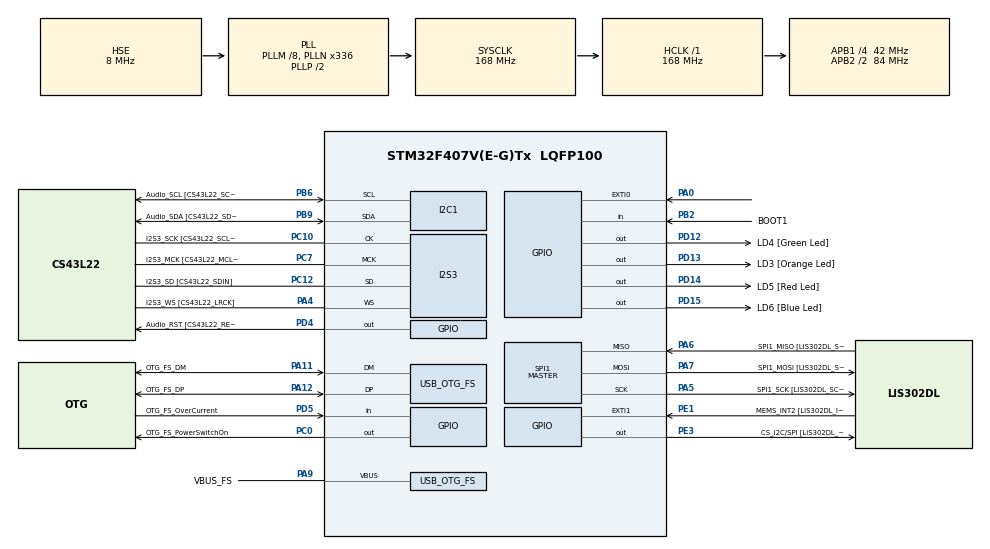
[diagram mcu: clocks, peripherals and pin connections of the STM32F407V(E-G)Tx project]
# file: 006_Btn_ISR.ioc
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I2S3.AudioFreq-Half_Duplex_Master=I2S_AUDIOFREQ_96K
I2S3.ErrorAudioFreq=-2.34 %
I2S3.ErrorAudioFreq-Half_Duplex_Master=0.8 %
I2S3.FullDuplexMode=I2S_FULLDUPLEXMODE_DISABLE
I2S3.Instance=SPI$Index
I2S3.RealAudioFreq=93.75 KHz
I2S3.RealAudioFreq-Half_Duplex_Master=96.774 KHz
I2S3.VirtualMode=I2S_MODE_MASTER
Mcu.Family=STM32F4
Mcu.Name=STM32F407V(E-G)Tx
Mcu.Package=LQFP100
NVIC.EXTI0_IRQn=true\:6\:0\:true\:false\:true\:true\:true\:true
NVIC.OTG_FS_IRQn=true\:0\:0\:false\:false\:true\:true\:true\:true
NVIC.PriorityGroup=NVIC_PRIORITYGROUP_4
NVIC.TIM6_DAC_IRQn=true\:15\:0\:false\:false\:true\:false\:true\:true
NVIC.TimeBase=TIM6_DAC_IRQn
NVIC.TimeBaseIP=TIM6
PA0-WKUP.Signal=GPXTI0
PA10.GPIO_Label=OTG_FS_ID
PA10.GPIO_Mode=GPIO_MODE_AF_PP
PA10.GPIO_PuPd=GPIO_NOPULL
PA10.GPIO_Speed=GPIO_SPEED_FREQ_LOW
PA10.Signal=USB_OTG_FS_ID
PA11.GPIO_Label=OTG_FS_DM
PA11.GPIO_Mode=GPIO_MODE_AF_PP
PA11.GPIO_PuPd=GPIO_NOPULL
PA11.GPIO_Speed=GPIO_SPEED_FREQ_LOW
PA11.Mode=Host_Only
PA11.Signal=USB_OTG_FS_DM
PA12.GPIO_Label=OTG_FS_DP
PA12.GPIO_Mode=GPIO_MODE_AF_PP
PA12.GPIO_PuPd=GPIO_NOPULL
PA12.GPIO_Speed=GPIO_SPEED_FREQ_LOW
PA12.Mode=Host_Only
PA12.Signal=USB_OTG_FS_DP
PA13.GPIO_Label=SWDIO
PA13.Mode=Serial_Wire
PA13.Signal=SYS_JTMS-SWDIO
PA14.GPIO_Label=SWCLK
PA14.Mode=Serial_Wire
PA14.Signal=SYS_JTCK-SWCLK
PA4.GPIO_Label=I2S3_WS [CS43L22_LRCK]
PA4.GPIO_Mode=GPIO_MODE_AF_PP
PA4.GPIO_PuPd=GPIO_NOPULL
PA4.GPIO_Speed=GPIO_SPEED_FREQ_LOW
PA4.Mode=Half_Duplex_Master
PA4.Signal=I2S3_WS
PA5.GPIO_Label=SPI1_SCK [LIS302DL_SCL/SPC]
PA5.GPIO_Mode=GPIO_MODE_AF_PP
PA5.GPIO_PuPd=GPIO_NOPULL
PA5.GPIO_Speed=GPIO_SPEED_FREQ_LOW
PA5.Mode=Full_Duplex_Master
PA5.Signal=SPI1_SCK
PA6.GPIO_Label=SPI1_MISO [LIS302DL_SDO]
PA6.GPIO_Mode=GPIO_MODE_AF_PP
PA6.GPIO_PuPd=GPIO_NOPULL
PA6.GPIO_Speed=GPIO_SPEED_FREQ_LOW
PA6.Mode=Full_Duplex_Master
PA6.Signal=SPI1_MISO
PA7.GPIO_Label=SPI1_MOSI [LIS302DL_SDA/SDI/SDO]
PA7.GPIO_Mode=GPIO_MODE_AF_PP
PA7.GPIO_PuPd=GPIO_NOPULL
PA7.GPIO_Speed=GPIO_SPEED_FREQ_LOW
PA7.Mode=Full_Duplex_Master
PA7.Signal=SPI1_MOSI
PA9.GPIO_Label=VBUS_FS
PA9.GPIO_Mode=GPIO_MODE_INPUT
PA9.GPIO_PuPd=GPIO_NOPULL
PA9.Mode=Activate_VBUS
PA9.Signal=USB_OTG_FS_VBUS
PB10.GPIO_Label=CLK_IN [MP45DT02_CLK]
PB10.GPIO_Mode=GPIO_MODE_AF_PP
PB10.GPIO_PuPd=GPIO_NOPULL
PB10.GPIO_Speed=GPIO_SPEED_FREQ_LOW
PB10.Signal=I2S2_CK
PB2.GPIO_Label=BOOT1
PB2.GPIO_Mode=GPIO_MODE_INPUT
PB2.GPIO_PuPd=GPIO_NOPULL
PB2.Signal=GPIO_Input
PB3.GPIO_Label=SWO
PB3.Signal=SYS_JTDO-SWO
PB6.GPIO_Label=Audio_SCL [CS43L22_SCL]
PB6.GPIO_Mode=GPIO_MODE_AF_OD
PB6.GPIO_Pu=GPIO_PULLUP
PB6.GPIO_PuPd=GPIO_NOPULL
PB6.GPIO_Speed=GPIO_SPEED_FREQ_LOW
PB6.Mode=I2C
PB6.Signal=I2C1_SCL
PB9.GPIO_Label=Audio_SDA [CS43L22_SDA]
PB9.GPIO_Mode=GPIO_MODE_AF_OD
PB9.GPIO_Pu=GPIO_PULLUP
PB9.GPIO_PuPd=GPIO_NOPULL
PB9.GPIO_Speed=GPIO_SPEED_FREQ_LOW
PB9.Mode=I2C
PB9.Signal=I2C1_SDA
PC0.GPIO_Label=OTG_FS_PowerSwitchOn
PC0.GPIO_PuPd=GPIO_NOPULL
PC0.GPIO_Speed=GPIO_SPEED_FREQ_LOW
PC0.PinState=GPIO_PIN_SET
PC0.Signal=GPIO_Output
PC10.GPIO_Label=I2S3_SCK [CS43L22_SCLK]
PC10.GPIO_Mode=GPIO_MODE_AF_PP
PC10.GPIO_PuPd=GPIO_NOPULL
PC10.GPIO_Speed=GPIO_SPEED_FREQ_LOW
PC10.Mode=Half_Duplex_Master
PC10.Signal=I2S3_CK
PC12.GPIO_Label=I2S3_SD [CS43L22_SDIN]
PC12.GPIO_Mode=GPIO_MODE_AF_PP
PC12.GPIO_PuPd=GPIO_NOPULL
PC12.GPIO_Speed=GPIO_SPEED_FREQ_LOW
PC12.Mode=Half_Duplex_Master
PC12.Signal=I2S3_SD
PC14-OSC32_IN.GPIO_Label=PC14-OSC32_IN
PC14-OSC32_IN.Mode=LSE-External-Oscillator
PC14-OSC32_IN.Signal=RCC_OSC32_IN
PC15-OSC32_OUT.GPIO_Label=PC15-OSC32_OUT
PC15-OSC32_OUT.Mode=LSE-External-Oscillator
PC15-OSC32_OUT.Signal=RCC_OSC32_OUT
PC3.GPIO_Label=PDM_OUT [MP45DT02_DOUT]
PC3.GPIO_Mode=GPIO_MODE_AF_PP
PC3.GPIO_PuPd=GPIO_NOPULL
PC3.GPIO_Speed=GPIO_SPEED_FREQ_LOW
PC3.Signal=I2S2_SD
PC7.GPIO_Label=I2S3_MCK [CS43L22_MCLK]
PC7.GPIO_Mode=GPIO_MODE_AF_PP
PC7.GPIO_PuPd=GPIO_NOPULL
PC7.GPIO_Speed=GPIO_SPEED_FREQ_LOW
PC7.Mode=Master_Clock_Activated
PC7.Signal=I2S3_MCK
PD12.GPIO_Label=LD4 [Green Led]
PD12.GPIO_PuPd=GPIO_NOPULL
PD12.GPIO_Speed=GPIO_SPEED_FREQ_LOW
PD12.Signal=GPIO_Output
PD13.GPIO_Label=LD3 [Orange Led]
PD13.GPIO_PuPd=GPIO_NOPULL
PD13.GPIO_Speed=GPIO_SPEED_FREQ_LOW
PD13.Signal=GPIO_Output
PD14.GPIO_Label=LD5 [Red Led]
PD14.GPIO_PuPd=GPIO_NOPULL
PD14.GPIO_Speed=GPIO_SPEED_FREQ_LOW
PD14.Signal=GPIO_Output
PD15.GPIO_Label=LD6 [Blue Led]
PD15.GPIO_PuPd=GPIO_NOPULL
PD15.GPIO_Speed=GPIO_SPEED_FREQ_LOW
PD15.Signal=GPIO_Output
PD4.GPIO_Label=Audio_RST [CS43L22_RESET]
PD4.GPIO_PuPd=GPIO_NOPULL
PD4.GPIO_Speed=GPIO_SPEED_FREQ_LOW
PD4.Signal=GPIO_Output
PD5.GPIO_Label=OTG_FS_OverCurrent
PD5.GPIO_Mode=GPIO_MODE_INPUT
PD5.GPIO_PuPd=GPIO_NOPULL
PD5.Signal=GPIO_Input
PE1.GPIO_Label=MEMS_INT2 [LIS302DL_INT2]
PE1.GPIO_ModeDefaultEXTI=GPIO_MODE_EVT_RISING
PE1.GPIO_PuPd=GPIO_NOPULL
PE1.Signal=GPXTI1
PE3.GPIO_Label=CS_I2C/SPI [LIS302DL_CS_I2C/SPI]
PE3.GPIO_PuPd=GPIO_NOPULL
PE3.GPIO_Speed=GPIO_SPEED_FREQ_LOW
PE3.Signal=GPIO_Output
PH0-OSC_IN.GPIO_Label=PH0-OSC_IN
PH0-OSC_IN.Mode=HSE-External-Oscillator
PH0-OSC_IN.Signal=RCC_OSC_IN
PH1-OSC_OUT.GPIO_Label=PH1-OSC_OUT
PH1-OSC_OUT.Mode=HSE-External-Oscillator
PH1-OSC_OUT.Signal=RCC_OSC_OUT
ProjectManager.HeapSize=0x200
ProjectManager.StackSize=0x400
ProjectManager.TargetToolchain=STM32CubeIDE
RCC.48MHZClocksFreq_Value=48000000
RCC.AHBFreq_Value=168000000
RCC.APB1CLKDivider=RCC_HCLK_DIV4
RCC.APB1Freq_Value=42000000
RCC.APB1TimFreq_Value=84000000
RCC.APB2CLKDivider=RCC_HCLK_DIV2
RCC.APB2Freq_Value=84000000
RCC.APB2TimFreq_Value=168000000
RCC.CortexFreq_Value=168000000
RCC.HCLKFreq_Value=168000000
RCC.HSE_VALUE=8000000
RCC.HSI_VALUE=16000000
RCC.PLLM=8
RCC.PLLN=336
RCC.PLLQ=7
RCC.SYSCLKFreq_VALUE=168000000
RCC.SYSCLKSource=RCC_SYSCLKSOURCE_PLLCLK
RCC.VCOOutputFreq_Value=336000000
SPI1.BaudRatePrescaler-Full_Duplex_Master=SPI_BAUDRATEPRESCALER_2
SPI1.CalculateBaudRate-Full_Duplex_Master=42.0 MBits/s
SPI1.Direction=SPI_DIRECTION_2LINES
SPI1.Mode=SPI_MODE_MASTER
SPI1.Mode-Full_Duplex_Master=SPI_MODE_MASTER
SPI1.VirtualType=VM_MASTER
USB_HOST.BSP.number=1
USB_HOST.USBH_HandleTypeDef-CDC_FS=hUsbHostFS
USB_HOST.VirtualModeFS=Cdc
USB_HOST0.BSP.STBoard=false
USB_HOST0.BSP.api=Unknown
USB_HOST0.BSP.instance=PC0
USB_HOST0.BSP.ip=GPIO
USB_HOST0.BSP.mode=Output
USB_HOST0.BSP.name=Drive_VBUS_FS
USB_HOST0.BSP.solution=PC0
USB_OTG_FS.VirtualMode=Host_Only
USB_OTG_FS.phy_itface=HCD_PHY_EMBEDDED
VP_SYS_VS_tim6.Mode=TIM6
VP_USB_HOST_VS_USB_HOST_CDC_FS.Mode=CDC_FS
board=STM32F407G-DISC1

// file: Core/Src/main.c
/* USER CODE BEGIN Header */
/**
  ******************************************************************************
  * @file           : main.c
  * @brief          : Main program body
  ******************************************************************************
  * @attention
  *
  * Copyright (c) 2026 STMicroelectronics.
  * All rights reserved.
  *
  * This software is licensed under terms that can be found in the LICENSE file
  * in the root directory of this software component.
  * If no LICENSE file comes with this software, it is provided AS-IS.
  *
  ******************************************************************************
  */
/* USER CODE END Header */
#include "main.h"
#include "usb_host.h"

/* USER CODE BEGIN Includes */
#include "FreeRTOS.h"
#include "task.h"
/* USER CODE END Includes */

/* USER CODE BEGIN PD */
#define DWT_CTRL    (*(volatile uint32_t*)0xE0001000)
/* USER CODE END PD */

I2C_HandleTypeDef hi2c1;

I2S_HandleTypeDef hi2s3;

SPI_HandleTypeDef hspi1;

void SystemClock_Config(void);
static void MX_GPIO_Init(void);
static void MX_I2C1_Init(void);
static void MX_I2S3_Init(void);
static void MX_SPI1_Init(void);
void MX_USB_HOST_Process(void);

/* USER CODE BEGIN PFP */
static void led_green_handler(void* parameters);
static void led_orange_handler(void* parameters);
static void led_red_handler(void *parameters);
void button_interrupt_handler();

extern void SEGGER_UART_init(uint32_t);
/* USER CODE END PFP */

/* USER CODE BEGIN 0 */
TaskHandle_t GreenTask_handle;
	TaskHandle_t OrangeTask_handle;
	TaskHandle_t RedTask_handle;
	TaskHandle_t volatile next_task_handle=NULL;
	BaseType_t status;
/* USER CODE END 0 */

int main(void)
{

  /* MCU Configuration--------------------------------------------------------*/

  /* Reset of all peripherals, Initializes the Flash interface and the Systick. */
  HAL_Init();

  /* Configure the system clock */
  SystemClock_Config();

  /* Initialize all configured peripherals */
  MX_GPIO_Init();
  MX_I2C1_Init();
  MX_I2S3_Init();
  MX_SPI1_Init();
  MX_USB_HOST_Init();
  /* USER CODE BEGIN 2 */

  SEGGER_UART_init(500000);

  //CYCLCNT enable
  DWT_CTRL |= ( 1 << 0);

  SEGGER_SYSVIEW_Conf();

  status=xTaskCreate(led_green_handler, "Green_LEDTask", 200, NULL, 2, &GreenTask_handle);
  configASSERT(status == pdPASS);
  next_task_handle=GreenTask_handle;
  status=xTaskCreate(led_orange_handler, "Orange_LEDTask", 200, NULL, 2, &OrangeTask_handle);
  configASSERT(status == pdPASS);
  status=xTaskCreate(led_red_handler, "Red_LEDTask", 200, NULL, 1, &RedTask_handle);
  configASSERT(status == pdPASS);
  //start the freeRTOS scheduler
  vTaskStartScheduler();
  /* USER CODE END 2 */

  /* Infinite loop */
  while (1)
  {
    MX_USB_HOST_Process();

  }
}

void SystemClock_Config(void)
{
  RCC_OscInitTypeDef RCC_OscInitStruct = {0};
  RCC_ClkInitTypeDef RCC_ClkInitStruct = {0};

  /** Configure the main internal regulator output voltage
  */
  __HAL_RCC_PWR_CLK_ENABLE();
  __HAL_PWR_VOLTAGESCALING_CONFIG(PWR_REGULATOR_VOLTAGE_SCALE1);

  /** Initializes the RCC Oscillators according to the specified parameters
  * in the RCC_OscInitTypeDef structure.
  */
  RCC_OscInitStruct.OscillatorType = RCC_OSCILLATORTYPE_HSE;
  RCC_OscInitStruct.HSEState = RCC_HSE_ON;
  RCC_OscInitStruct.PLL.PLLState = RCC_PLL_ON;
  RCC_OscInitStruct.PLL.PLLSource = RCC_PLLSOURCE_HSE;
  RCC_OscInitStruct.PLL.PLLM = 8;
  RCC_OscInitStruct.PLL.PLLN = 336;
  RCC_OscInitStruct.PLL.PLLP = RCC_PLLP_DIV2;
  RCC_OscInitStruct.PLL.PLLQ = 7;
  if (HAL_RCC_OscConfig(&RCC_OscInitStruct) != HAL_OK)
  {
    Error_Handler();
  }

  /** Initializes the CPU, AHB and APB buses clocks
  */
  RCC_ClkInitStruct.ClockType = RCC_CLOCKTYPE_HCLK|RCC_CLOCKTYPE_SYSCLK
                              |RCC_CLOCKTYPE_PCLK1|RCC_CLOCKTYPE_PCLK2;
  RCC_ClkInitStruct.SYSCLKSource = RCC_SYSCLKSOURCE_PLLCLK;
  RCC_ClkInitStruct.AHBCLKDivider = RCC_SYSCLK_DIV1;
  RCC_ClkInitStruct.APB1CLKDivider = RCC_HCLK_DIV4;
  RCC_ClkInitStruct.APB2CLKDivider = RCC_HCLK_DIV2;

  if (HAL_RCC_ClockConfig(&RCC_ClkInitStruct, FLASH_LATENCY_5) != HAL_OK)
  {
    Error_Handler();
  }
}

static void MX_I2C1_Init(void)
{

  hi2c1.Instance = I2C1;
  hi2c1.Init.ClockSpeed = 100000;
  hi2c1.Init.DutyCycle = I2C_DUTYCYCLE_2;
  hi2c1.Init.OwnAddress1 = 0;
  hi2c1.Init.AddressingMode = I2C_ADDRESSINGMODE_7BIT;
  hi2c1.Init.DualAddressMode = I2C_DUALADDRESS_DISABLE;
  hi2c1.Init.OwnAddress2 = 0;
  hi2c1.Init.GeneralCallMode = I2C_GENERALCALL_DISABLE;
  hi2c1.Init.NoStretchMode = I2C_NOSTRETCH_DISABLE;
  if (HAL_I2C_Init(&hi2c1) != HAL_OK)
  {
    Error_Handler();
  }

}

static void MX_I2S3_Init(void)
{

  hi2s3.Instance = SPI3;
  hi2s3.Init.Mode = I2S_MODE_MASTER_TX;
  hi2s3.Init.Standard = I2S_STANDARD_PHILIPS;
  hi2s3.Init.DataFormat = I2S_DATAFORMAT_16B;
  hi2s3.Init.MCLKOutput = I2S_MCLKOUTPUT_ENABLE;
  hi2s3.Init.AudioFreq = I2S_AUDIOFREQ_96K;
  hi2s3.Init.CPOL = I2S_CPOL_LOW;
  hi2s3.Init.ClockSource = I2S_CLOCK_PLL;
  hi2s3.Init.FullDuplexMode = I2S_FULLDUPLEXMODE_DISABLE;
  if (HAL_I2S_Init(&hi2s3) != HAL_OK)
  {
    Error_Handler();
  }

}

static void MX_SPI1_Init(void)
{

  /* SPI1 parameter configuration*/
  hspi1.Instance = SPI1;
  hspi1.Init.Mode = SPI_MODE_MASTER;
  hspi1.Init.Direction = SPI_DIRECTION_2LINES;
  hspi1.Init.DataSize = SPI_DATASIZE_8BIT;
  hspi1.Init.CLKPolarity = SPI_POLARITY_LOW;
  hspi1.Init.CLKPhase = SPI_PHASE_1EDGE;
  hspi1.Init.NSS = SPI_NSS_SOFT;
  hspi1.Init.BaudRatePrescaler = SPI_BAUDRATEPRESCALER_2;
  hspi1.Init.FirstBit = SPI_FIRSTBIT_MSB;
  hspi1.Init.TIMode = SPI_TIMODE_DISABLE;
  hspi1.Init.CRCCalculation = SPI_CRCCALCULATION_DISABLE;
  hspi1.Init.CRCPolynomial = 10;
  if (HAL_SPI_Init(&hspi1) != HAL_OK)
  {
    Error_Handler();
  }

}

static void MX_GPIO_Init(void)
{
  GPIO_InitTypeDef GPIO_InitStruct = {0};

  /* GPIO Ports Clock Enable */
  __HAL_RCC_GPIOE_CLK_ENABLE();
  __HAL_RCC_GPIOC_CLK_ENABLE();
  __HAL_RCC_GPIOH_CLK_ENABLE();
  __HAL_RCC_GPIOA_CLK_ENABLE();
  __HAL_RCC_GPIOB_CLK_ENABLE();
  __HAL_RCC_GPIOD_CLK_ENABLE();

  /*Configure GPIO pin Output Level */
  HAL_GPIO_WritePin(CS_I2C_SPI_GPIO_Port, CS_I2C_SPI_Pin, GPIO_PIN_RESET);

  /*Configure GPIO pin Output Level */
  HAL_GPIO_WritePin(OTG_FS_PowerSwitchOn_GPIO_Port, OTG_FS_PowerSwitchOn_Pin, GPIO_PIN_SET);

  /*Configure GPIO pin Output Level */
  HAL_GPIO_WritePin(GPIOD, LD4_Pin|LD3_Pin|LD5_Pin|LD6_Pin
                          |Audio_RST_Pin, GPIO_PIN_RESET);

  /*Configure GPIO pin : CS_I2C_SPI_Pin */
  GPIO_InitStruct.Pin = CS_I2C_SPI_Pin;
  GPIO_InitStruct.Mode = GPIO_MODE_OUTPUT_PP;
  GPIO_InitStruct.Pull = GPIO_NOPULL;
  GPIO_InitStruct.Speed = GPIO_SPEED_FREQ_LOW;
  HAL_GPIO_Init(CS_I2C_SPI_GPIO_Port, &GPIO_InitStruct);

  /*Configure GPIO pin : OTG_FS_PowerSwitchOn_Pin */
  GPIO_InitStruct.Pin = OTG_FS_PowerSwitchOn_Pin;
  GPIO_InitStruct.Mode = GPIO_MODE_OUTPUT_PP;
  GPIO_InitStruct.Pull = GPIO_NOPULL;
  GPIO_InitStruct.Speed = GPIO_SPEED_FREQ_LOW;
  HAL_GPIO_Init(OTG_FS_PowerSwitchOn_GPIO_Port, &GPIO_InitStruct);

  /*Configure GPIO pin : PDM_OUT_Pin */
  GPIO_InitStruct.Pin = PDM_OUT_Pin;
  GPIO_InitStruct.Mode = GPIO_MODE_AF_PP;
  GPIO_InitStruct.Pull = GPIO_NOPULL;
  GPIO_InitStruct.Speed = GPIO_SPEED_FREQ_LOW;
  GPIO_InitStruct.Alternate = GPIO_AF5_SPI2;
  HAL_GPIO_Init(PDM_OUT_GPIO_Port, &GPIO_InitStruct);

  /*Configure GPIO pin : PA0 */
  GPIO_InitStruct.Pin = GPIO_PIN_0;
  GPIO_InitStruct.Mode = GPIO_MODE_IT_RISING;
  GPIO_InitStruct.Pull = GPIO_NOPULL;
  HAL_GPIO_Init(GPIOA, &GPIO_InitStruct);

  /*Configure GPIO pin : BOOT1_Pin */
  GPIO_InitStruct.Pin = BOOT1_Pin;
  GPIO_InitStruct.Mode = GPIO_MODE_INPUT;
  GPIO_InitStruct.Pull = GPIO_NOPULL;
  HAL_GPIO_Init(BOOT1_GPIO_Port, &GPIO_InitStruct);

  /*Configure GPIO pin : CLK_IN_Pin */
  GPIO_InitStruct.Pin = CLK_IN_Pin;
  GPIO_InitStruct.Mode = GPIO_MODE_AF_PP;
  GPIO_InitStruct.Pull = GPIO_NOPULL;
  GPIO_InitStruct.Speed = GPIO_SPEED_FREQ_LOW;
  GPIO_InitStruct.Alternate = GPIO_AF5_SPI2;
  HAL_GPIO_Init(CLK_IN_GPIO_Port, &GPIO_InitStruct);

  /*Configure GPIO pins : LD4_Pin LD3_Pin LD5_Pin LD6_Pin
                           Audio_RST_Pin */
  GPIO_InitStruct.Pin = LD4_Pin|LD3_Pin|LD5_Pin|LD6_Pin
                          |Audio_RST_Pin;
  GPIO_InitStruct.Mode = GPIO_MODE_OUTPUT_PP;
  GPIO_InitStruct.Pull = GPIO_NOPULL;
  GPIO_InitStruct.Speed = GPIO_SPEED_FREQ_LOW;
  HAL_GPIO_Init(GPIOD, &GPIO_InitStruct);

  /*Configure GPIO pin : OTG_FS_OverCurrent_Pin */
  GPIO_InitStruct.Pin = OTG_FS_OverCurrent_Pin;
  GPIO_InitStruct.Mode = GPIO_MODE_INPUT;
  GPIO_InitStruct.Pull = GPIO_NOPULL;
  HAL_GPIO_Init(OTG_FS_OverCurrent_GPIO_Port, &GPIO_InitStruct);

  /*Configure GPIO pin : MEMS_INT2_Pin */
  GPIO_InitStruct.Pin = MEMS_INT2_Pin;
  GPIO_InitStruct.Mode = GPIO_MODE_EVT_RISING;
  GPIO_InitStruct.Pull = GPIO_NOPULL;
  HAL_GPIO_Init(MEMS_INT2_GPIO_Port, &GPIO_InitStruct);

  /* EXTI interrupt init*/
  HAL_NVIC_SetPriority(EXTI0_IRQn, 6, 0);
  HAL_NVIC_EnableIRQ(EXTI0_IRQn);

}

/* USER CODE BEGIN 4 */
void button_interrupt_handler()
{
	BaseType_t pxHigherPriorityTaskWoken;

		pxHigherPriorityTaskWoken = pdFALSE;
	//called From EXTI0 ISR
	traceISR_ENTER();//for Segger Trace
	xTaskNotifyFromISR(next_task_handle,0,eNoAction,NULL);
	/* once the ISR exits, the below macro makes higher priority task which got unblocked to resume on the CPU */
		portYIELD_FROM_ISR(pxHigherPriorityTaskWoken);
	traceISR_EXIT();
}
static void led_green_handler(void* parameters)
{
	while(1)
	{
		SEGGER_SYSVIEW_PrintfTarget("LED_GREEN_PIN");
		HAL_GPIO_TogglePin(GPIOD, LED_GREEN_PIN);
		if(xTaskNotifyWait(0,0,NULL,pdMS_TO_TICKS(1000)))      // clear all bits on exit
		{
			portENTER_CRITICAL();
			/*next_task_handle is shared var we have to look for guard condition but,Cannot use vSuspendAll()
			 *  because all intruppts will be blocked state intead use portENTER_CRITICAL
			 * it will disable only intruppts which are less than configMAX_SYSCALL_INTERRUPT_PRIORITY->5.
			 * EXTI0(Btn) is configured for Prio 6(higher the prio lower the urgency) hence this intruppt is still working*/
			next_task_handle=OrangeTask_handle;
			portEXIT_CRITICAL();
			HAL_GPIO_WritePin(GPIOD, LED_GREEN_PIN, GPIO_PIN_SET);
			SEGGER_SYSVIEW_PrintfTarget("Delete Green Task");
			vTaskDelete(NULL);
		}
	}
}
static void led_orange_handler(void* parameters)
{
	while(1)
	{
		SEGGER_SYSVIEW_PrintfTarget("LED_ORANGE_PIN");
		HAL_GPIO_TogglePin(GPIOD, LED_ORANGE_PIN);
		if(xTaskNotifyWait(0,0,NULL,pdMS_TO_TICKS(800)))
		{
			portENTER_CRITICAL();
			next_task_handle=RedTask_handle;
			portEXIT_CRITICAL();
			HAL_GPIO_WritePin(GPIOD, LED_ORANGE_PIN, GPIO_PIN_SET);
			SEGGER_SYSVIEW_PrintfTarget("Delete orange Task");
			vTaskDelete(NULL); //delete itself
		}

	}
}
static void led_red_handler(void* parameters)
{
	while(1)
	{
		SEGGER_SYSVIEW_PrintfTarget("LED_RED_PIN");
		HAL_GPIO_TogglePin(GPIOD, LED_RED_PIN);
		if(xTaskNotifyWait(0,0,NULL,pdMS_TO_TICKS(400)))
		{
			portENTER_CRITICAL(); //Disable hardware intreupts also disables pendSV intrupts
			next_task_handle=NULL;
			portEXIT_CRITICAL();
			HAL_GPIO_WritePin(GPIOD, LED_RED_PIN, GPIO_PIN_SET);
			SEGGER_SYSVIEW_PrintfTarget("Delete Red Task with Btn Task");
			vTaskDelete(NULL);

		}

	}
}
/* USER CODE END 4 */

void HAL_TIM_PeriodElapsedCallback(TIM_HandleTypeDef *htim)
{
  if (htim->Instance == TIM6)
  {
    HAL_IncTick();
  }
}

void Error_Handler(void)
{
  __disable_irq();
  while (1)
  {
  }
}
